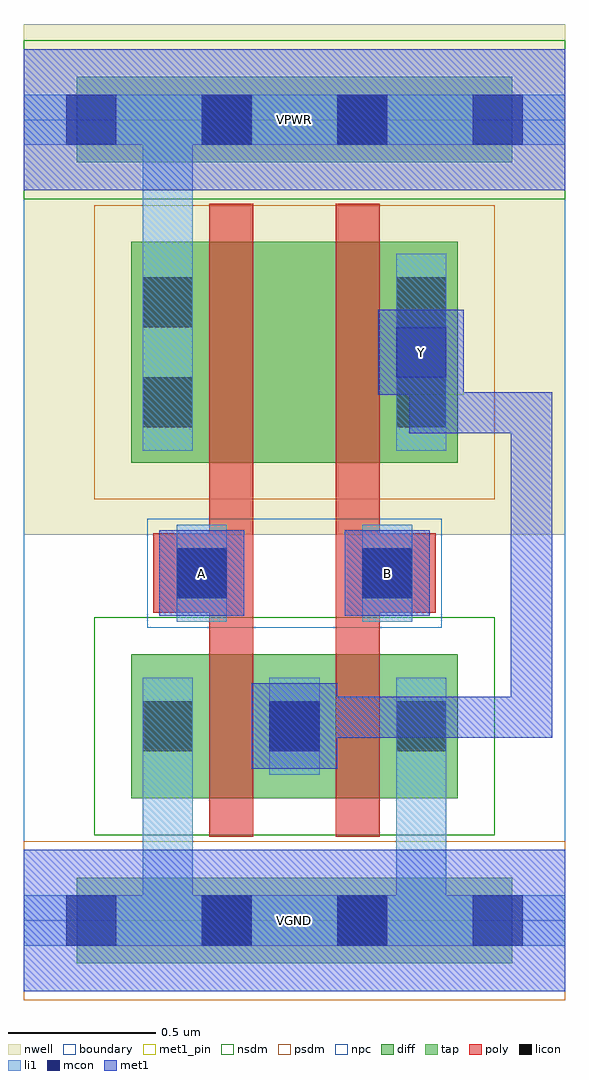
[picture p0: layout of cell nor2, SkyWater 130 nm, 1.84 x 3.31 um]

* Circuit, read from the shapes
.subckt nor2 A B VGND VPWR Y
XM1 Y A VGND VGND sky130_fd_pr__nfet_01v8 w=0.49 l=0.15
XM2 VGND B Y VGND sky130_fd_pr__nfet_01v8 w=0.49 l=0.15
XM3 n1 A VPWR VPWR sky130_fd_pr__pfet_01v8 w=0.75 l=0.15
XM4 Y B n1 VPWR sky130_fd_pr__pfet_01v8 w=0.75 l=0.15
.ends

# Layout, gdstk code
import gdstk
lib = gdstk.Library(unit=1e-6, precision=1e-09)
def R(c, l, rs):  # rectangles x0, y0, x1, y1
    for r in rs: c.add(gdstk.rectangle(r[:2], r[2:], *l))
def A(c, l, x, y, w, h, nx, ny, dx, dy):  # array of equal rectangles
    R(c, l, [(x+i*dx, y+j*dy, x+i*dx+w, y+j*dy+h) for i in range(nx) for j in range(ny)])
nwell = (64, 20)
diff = (65, 20)
tap = (65, 44)
poly = (66, 20)
licon = (66, 44)
li1 = (67, 20)
mcon = (67, 44)
met1_pin = (68, 16)
met1 = (68, 20)
nsdm = (93, 44)
psdm = (94, 20)
npc = (95, 20)
boundary = (235, 4)

nor2 = lib.new_cell('nor2')
R(nor2, nwell, [(0,1.31,1.84,3.045)])
R(nor2, diff, [(0.365,0.415,1.475,0.905), (0.365,1.555,1.475,2.305)])
R(nor2, tap, [(0.18,-0.145,1.66,0.145), (0.18,2.575,1.66,2.865)])
R(nor2, poly, [(0.63,0.285,0.78,2.435), (1.06,0.285,1.21,2.435), (0.44,1.045,0.77,1.315), (1.07,1.045,1.4,1.315)])
A(nor2, licon, 0.405, 0.575, 0.17, 0.17, 3, 1, 0.43, 0)
R(nor2, licon, [(0.605,-0.085,0.775,0.085), (1.065,-0.085,1.235,0.085), (0.52,1.095,0.69,1.265), (1.15,1.095,1.32,1.265), (0.405,1.675,0.575,1.845), (1.265,1.675,1.435,1.845), (0.405,2.015,0.575,2.185), (1.265,2.015,1.435,2.185), (0.605,2.635,0.775,2.805), (1.065,2.635,1.235,2.805)])
A(nor2, li1, 0.405, 0.495, 0.17, 0.33, 3, 1, 0.43, 0)
R(nor2, li1, [(0,-0.085,1.84,0.085), (0.405,-0.085,0.575,0.825), (1.265,-0.085,1.435,0.825), (0.52,1.015,0.69,1.345), (1.15,1.015,1.32,1.345), (0.405,1.595,0.575,2.265), (0.405,1.595,0.575,2.805), (1.265,1.595,1.435,2.265), (0,2.635,1.84,2.805)])
A(nor2, mcon, 0.145, -0.085, 0.17, 0.17, 4, 2, 0.46, 2.72)
R(nor2, mcon, [(0.835,0.575,1.005,0.745), (0.52,1.095,0.69,1.265), (1.15,1.095,1.32,1.265), (1.265,1.845,1.435,2.015)])
R(nor2, met1_pin, [(0,-0.24,1.84,0.24), (0.46,1.035,0.75,1.325), (1.09,1.035,1.38,1.325), (1.205,1.785,1.495,2.075), (0,2.48,1.84,2.96)])
R(nor2, met1, [(0,-0.24,1.84,0.24), (0.775,0.515,1.065,0.805), (0.85,0.62,0.99,0.76), (0.85,0.62,1.795,0.76), (1.655,0.62,1.795,1.795), (0.46,1.035,0.75,1.325), (1.09,1.035,1.38,1.325), (1.31,1.655,1.45,2.025), (1.31,1.655,1.795,1.795), (1.205,1.785,1.495,2.075), (1.31,1.795,1.45,1.885), (1.31,1.795,1.45,1.885), (1.31,1.795,1.45,1.885), (1.31,1.795,1.45,1.885), (1.31,1.795,1.45,1.885), (1.31,1.795,1.45,1.885), (1.31,1.885,1.45,2.025), (0,2.48,1.84,2.96)])
R(nor2, nsdm, [(0.24,0.29,1.6,1.03), (0,2.45,1.84,2.99)])
R(nor2, psdm, [(0,-0.27,1.84,0.27), (0.24,1.43,1.6,2.43)])
R(nor2, npc, [(0.42,0.995,1.42,1.365)])
R(nor2, boundary, [(0,0,1.84,2.72)])
nor2.add(gdstk.Label('A', (0.605,1.18), layer=68, texttype=5))
nor2.add(gdstk.Label('B', (1.235,1.18), layer=68, texttype=5))
nor2.add(gdstk.Label('Y', (1.35,1.93), layer=68, texttype=5))
nor2.add(gdstk.Label('VPWR', (0.92,2.72), layer=68, texttype=5))
nor2.add(gdstk.Label('VGND', (0.92,0), layer=68, texttype=5))
nor2.add(gdstk.Label('A', (0.605,1.18), layer=68, texttype=16))
nor2.add(gdstk.Label('B', (1.235,1.18), layer=68, texttype=16))
nor2.add(gdstk.Label('Y', (1.35,1.93), layer=68, texttype=16))
nor2.add(gdstk.Label('VPWR', (0.92,2.72), layer=68, texttype=16))
nor2.add(gdstk.Label('VGND', (0.92,0), layer=68, texttype=16))

lib.write_gds('nor2.gds')
